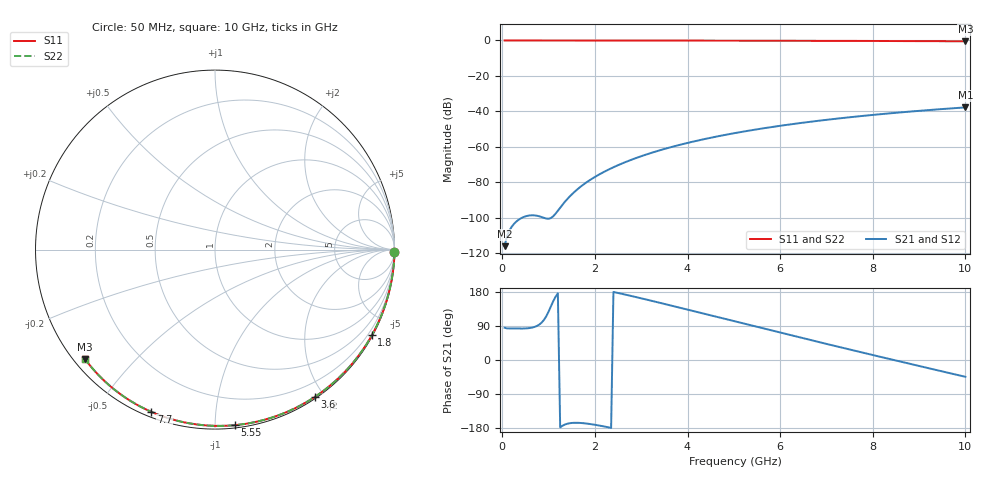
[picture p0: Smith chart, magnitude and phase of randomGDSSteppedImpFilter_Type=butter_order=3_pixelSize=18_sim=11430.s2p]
! freq	dB(S11)	phase(S11)	dB(S12)	phase(S12)
!  dB(S21)	phase(S21)	dB(S22)	phase(S22)
!S-par simulation data
#  GHz  S  DB  R 50
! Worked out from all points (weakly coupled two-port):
!   200 points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, 50 MHz to 10 GHz, reference 50 ohm
!   highest |S21| = -37.74 dB at 10 GHz (marker M1); lowest = -116.0 dB at 50 MHz (marker M2)
!   lowest |S11| = -0.5 dB at 10 GHz (marker M3), VSWR 36.72, Z = 1.54 - j18.3 ohm
!   |S11| at or under -10 dB: nowhere
!   |S22| runs from -0.5 to 0.0 dB; largest |S21 - S12| = 0
!   S11 on the Smith chart (normalised r, x): 50 MHz: open; 1.8 GHz: 0.03, -3.91; 3.6 GHz: 0.02, -1.88; 5.55 GHz: 0.02, -1.12; 7.7 GHz: 0.02, -0.68; 10 GHz: 0.03, -0.37
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0.05  -0.00 -0.8  -116.01 85.0  -116.01 85.0  -0.00 -0.8
0.45  -0.01 -7.3  -99.68 83.1  -99.68 83.1  -0.01 -7.3
0.9  -0.02 -14.5  -100.05 105.9  -100.05 105.9  -0.02 -14.5
1.75  -0.04 -27.9  -81.29 -166.7  -81.29 -166.7  -0.04 -27.9
1.8  -0.04 -28.7  -80.35 -167.4  -80.35 -167.4  -0.04 -28.7
1.85  -0.04 -29.4  -79.45 -168.2  -79.45 -168.2  -0.04 -29.4
2  -0.04 -31.8  -76.97 -170.9  -76.97 -170.9  -0.04 -31.8
2.15  -0.04 -34.1  -74.74 -174.2  -74.74 -174.2  -0.04 -34.1
2.35  -0.05 -37.2  -72.10 -179.2  -72.10 -179.2  -0.05 -37.2
2.55  -0.05 -40.2  -69.76 175.5  -69.76 175.5  -0.05 -40.2
2.95  -0.06 -46.3  -65.72 164.3  -65.72 164.3  -0.06 -46.3
3.4  -0.07 -53.0  -61.94 151.0  -61.94 151.0  -0.07 -53.0
3.6  -0.08 -56.0  -60.46 145.0  -60.46 145.0  -0.08 -56.0
4.3  -0.09 -66.1  -55.98 123.9  -55.98 123.9  -0.09 -66.1
5.05  -0.12 -76.6  -52.10 101.1  -52.10 101.1  -0.12 -76.6
5.55  -0.14 -83.5  -49.90 85.9  -49.90 85.9  -0.14 -83.5
6.1  -0.16 -90.9  -47.75 69.3  -47.75 69.3  -0.16 -90.9
6.7  -0.19 -98.7  -45.69 51.4  -45.69 51.4  -0.19 -98.7
7.7  -0.26 -111.5  -42.76 21.9  -42.76 21.9  -0.26 -111.5
8.35  -0.31 -119.6  -41.14 2.9  -41.14 2.9  -0.31 -119.6
9.2  -0.39 -130.0  -39.27 -21.5  -39.27 -21.5  -0.39 -130.0
10  -0.47 -139.8  -37.74 -44.4  -37.74 -44.4  -0.47 -139.8
